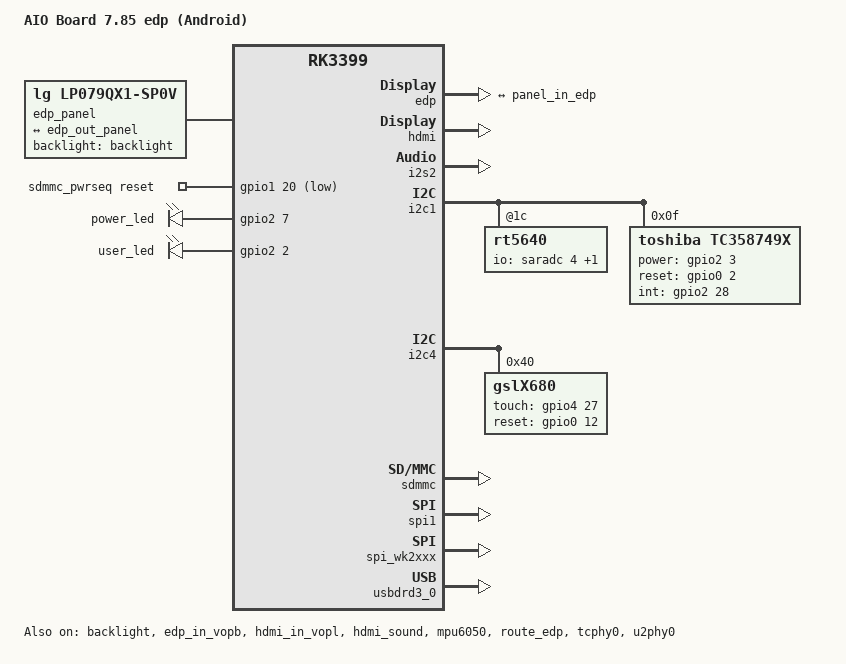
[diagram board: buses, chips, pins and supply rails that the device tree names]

/*
 * Copyright (c) 2016 Fuzhou Rockchip Electronics Co., Ltd
 *
 * This file is dual-licensed: you can use it either under the terms
 * of the GPL or the X11 license, at your option. Note that this dual
 * licensing only applies to this file, and not this project as a
 * whole.
 *
 *  a) This file is free software; you can redistribute it and/or
 *     modify it under the terms of the GNU General Public License as
 *     published by the Free Software Foundation; either version 2 of the
 *     License, or (at your option) any later version.
 *
 *     This file is distributed in the hope that it will be useful,
 *     but WITHOUT ANY WARRANTY; without even the implied warranty of
 *     MERCHANTABILITY or FITNESS FOR A PARTICULAR PURPOSE.  See the
 *     GNU General Public License for more details.
 *
 * Or, alternatively,
 *
 *  b) Permission is hereby granted, free of charge, to any person
 *     obtaining a copy of this software and associated documentation
 *     files (the "Software"), to deal in the Software without
 *     restriction, including without limitation the rights to use,
 *     copy, modify, merge, publish, distribute, sublicense, and/or
 *     sell copies of the Software, and to permit persons to whom the
 *     Software is furnished to do so, subject to the following
 *     conditions:
 *
 *     The above copyright notice and this permission notice shall be
 *     included in all copies or substantial portions of the Software.
 *
 *     THE SOFTWARE IS PROVIDED "AS IS", WITHOUT WARRANTY OF ANY KIND,
 *     EXPRESS OR IMPLIED, INCLUDING BUT NOT LIMITED TO THE WARRANTIES
 *     OF MERCHANTABILITY, FITNESS FOR A PARTICULAR PURPOSE AND
 *     NONINFRINGEMENT. IN NO EVENT SHALL THE AUTHORS OR COPYRIGHT
 *     HOLDERS BE LIABLE FOR ANY CLAIM, DAMAGES OR OTHER LIABILITY,
 *     WHETHER IN AN ACTION OF CONTRACT, TORT OR OTHERWISE, ARISING
 *     FROM, OUT OF OR IN CONNECTION WITH THE SOFTWARE OR THE USE OR
 *     OTHER DEALINGS IN THE SOFTWARE.
 */

/dts-v1/;

#include "rk3399-firefly-port.dtsi" 	

/ {
	model = "AIO Board 7.85 edp (Android)";
	compatible = "rockchip,android", "rockchip,rk3399-firefly-edp", "rockchip,rk3399";

	edp_panel: edp-panel {
		/* config 2 */
		compatible = "lg,lp079qx1-sp0v";
		/* config 3 */
		//compatible = "simple-panel";
		bus-format = <MEDIA_BUS_FMT_RGB666_1X18>;

		backlight = <&backlight>;

		ports {
			panel_in_edp: endpoint {
				remote-endpoint = <&edp_out_panel>;
			};
		};

		power_ctr: power_ctr {
               rockchip,debug = <0>;
               lcd_en: lcd-en {
                       gpios = <&gpio1 1 GPIO_ACTIVE_HIGH>;
					   pinctrl-names = "default";
					   pinctrl-0 = <&lcd_panel_enable>;
                       rockchip,delay = <20>;
               };
               lcd_rst: lcd-rst {
                       gpios = <&gpio4 29 GPIO_ACTIVE_HIGH>;
					   pinctrl-names = "default";
					   pinctrl-0 = <&lcd_panel_reset>;
                       rockchip,delay = <20>;
               };
       };
	};

        rt5640-sound {
        simple-audio-card,dai-link@0 {
                format = "i2s";
                bitclock-master = <&rt5640_aif1>;
                frame-master = <&rt5640_aif1>;
                cpu {
                        sound-dai = <&i2s1 0>;
                };
                rt5640_aif1:codec {
                        sound-dai = <&rt5640 0>;
                };
        };
        simple-audio-card,dai-link@1 {
               format = "i2s";
               bitclock-master = <&rt5640_aif2>;
               frame-master = <&rt5640_aif2>;
                cpu {
                        sound-dai = <&i2s1 1>;
                };
                rt5640_aif2:codec {
                        sound-dai = <&rt5640 1>;
                };
        };

        simple-audio-card,dai-link@2 {
                format = "i2s";
                bitclock-master = <&tc358749x_audio>;
                frame-master = <&tc358749x_audio>;
                cpu {
                        sound-dai = <&i2s1 0>;
                };
                tc358749x_audio:codec {
                        sound-dai = <&tc358749x 0>;
                };
        };
                                                                                                                                               
        };

	test-power {
		status = "okay";
	};

	sdmmc_pwrseq: sdmmc-pwrseq {
           compatible = "mmc-pwrseq-simple";
           clocks = <&rk808 1>;
           clock-names = "ext_clock";
           pinctrl-names = "default";
           pinctrl-0 = <&sdcard_enable_h>;
           /*
            * On the module itself this is one of these (depending
            * on the actual card populated):
            * - SDIO_RESET_L_WL_REG_ON
            * - PDN (power down when low)
            */
           reset-gpios = <&gpio1 20 GPIO_ACTIVE_LOW>; // change with tp int pin
	};
};

&backlight {
	status = "okay";
};

&edp {
	status = "okay";

	ports {
		edp_out: port@1 {
			reg = <1>;
			#address-cells = <1>;
			#size-cells = <0>;

			edp_out_panel: endpoint@0 {
				reg = <0>;
				remote-endpoint = <&panel_in_edp>;
			};
		};
	};
};

&edp_in_vopb {
	status = "okay";
};
&edp_in_vopl {
	status = "disabled";
};

&hdmi {
	status = "okay";
};

&hdmi_in_vopb {
	status = "disabled";
};
&hdmi_in_vopl {
	status = "okay";
};

&cdn_dp {
    status = "disabled";
    extcon = <&fusb0>;
    phys = <&tcphy0_dp>;
};

&dp_in_vopb {
    status = "disabled";
};

&hdmi_sound {
	status = "okay";
};

&i2s2 {
	status = "okay";
};

&i2c1 {
        status = "okay";
        rt5640: rt5640@1c {                                                                                                                    
                #sound-dai-cells = <1>;
        };

        tc358749x: tc358749x@0f {
                compatible = "toshiba,tc358749x";
                #sound-dai-cells = <0>;
                reg = <0x0f>;
                power-gpios = <&gpio2 3 GPIO_ACTIVE_HIGH>;
                reset-gpios = <&gpio0 2 GPIO_ACTIVE_HIGH>;
                int-gpios = <&gpio2 28 GPIO_ACTIVE_HIGH>;
                pinctrl-names = "default";
                pinctrl-0 = <&hdmiin_gpios>;
                status = "okay";
        };

};


&i2c4 {
	status = "okay";
	gslx680: gslx680@40 {
		compatible = "gslX680";
		reg = <0x40>;
		screen_max_x = <1536>;
		screen_max_y = <2048>;
		touch-gpio = <&gpio4 27 IRQ_TYPE_LEVEL_LOW>;
		reset-gpio = <&gpio0 12 GPIO_ACTIVE_HIGH>;
	};
};

&mpu6050 {
    status = "okay";
};

&vopb {
	assigned-clocks = <&cru DCLK_VOP0_DIV>;
	assigned-clock-parents = <&cru PLL_CPLL>;
};

&vopl {
	assigned-clocks = <&cru DCLK_VOP1_DIV>;
	assigned-clock-parents = <&cru PLL_VPLL>;
};

&route_edp {
	status = "okay";
	logo,mode = "center";
};

&sdmmc {
    status = "okay";
	sd-uhs-sdr104;
	mmc-pwrseq = <&sdmmc_pwrseq>;
};

&rt5640 {
    aux-det-adc-value = <1000>;
    io-channels = <&saradc 4>,<&saradc 2>;
    io-channel-names = "hp-det","aux-det";
};

&power_led {
    gpios = <&gpio2 7 GPIO_ACTIVE_HIGH>;
};

&user_led {
    gpios = <&gpio2 2 GPIO_ACTIVE_HIGH>;
};

/* spi to uart */
&uart4 {
    status = "disabled";
};

&vdd_cpu_b {
    /delete-property/ vsel-gpios;  //wk2xxx reset pin
};

&spi1 {
    status = "okay";
};

&spi_wk2xxx {
    status = "okay";
};

&vcc3v3_pcie {
    gpio = <&gpio0 13 GPIO_ACTIVE_HIGH>;  // change with user led
};

&vcc3v3_3g {
    gpio = <&gpio2 6 GPIO_ACTIVE_HIGH>;
};

/* Otg */
&fusb0 {
    status = "disabled";
};

&tcphy0 {
    /delete-property/ extcon;
    status = "okay";
};
 
&u2phy0 {
    status = "okay";
    /delete-property/ extcon;   
                
    u2phy0_otg: otg-port {
        rockchip,vbus-always-on;
        vbus-5v-gpios = <&gpio1 3 GPIO_ACTIVE_HIGH>;
        status = "okay";
    };
};

&usbdrd3_0 {
    status = "okay";
    /delete-property/ extcon;
};

&pinctrl {
	lcd-panel {
		lcd_panel_reset: lcd-panel-reset {
			rockchip,pins = <4 29 RK_FUNC_GPIO &pcfg_pull_up>;
		};
		lcd_panel_enable: lcd-panel-enable {
			rockchip,pins = <1 1 RK_FUNC_GPIO &pcfg_pull_up>;
		};
	};
	sdmmc-pwrseq {
		sdcard_enable_h: sdcard-enable-h {
			rockchip,pins =
			<1 20 RK_FUNC_GPIO &pcfg_pull_none>;
		};
	};

    pcie {
        pcie_drv: pcie-drv {
            rockchip,pins =
            <0 13 RK_FUNC_GPIO &pcfg_pull_none>;
        };
        
        pcie_3g_drv: pcie-3g-drv {
            rockchip,pins = 
            <2 6 RK_FUNC_GPIO &pcfg_pull_up>;
        };
    };

	hdmiin {
		hdmiin_gpios: hdmiin_gpios {
			rockchip,pins =
				<2 3 RK_FUNC_GPIO &pcfg_pull_none>,
				<0 2 RK_FUNC_GPIO &pcfg_pull_none>,
				<2 28 RK_FUNC_GPIO &pcfg_pull_none>;
		};
	};
    leds {
        led_power: led-power {
            rockchip,pins = <2 7 RK_FUNC_GPIO &pcfg_pull_none>;
        };

        led_user: led-user {
            rockchip,pins = <2 2 RK_FUNC_GPIO &pcfg_pull_none>;
        };
    };
};
